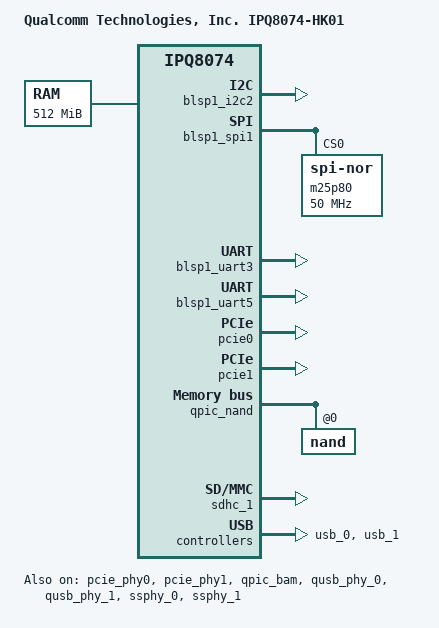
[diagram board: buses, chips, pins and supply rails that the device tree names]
// SPDX-License-Identifier: GPL-2.0-only
/dts-v1/;
/* Copyright (c) 2017, The Linux Foundation. All rights reserved.
 */
#include "ipq8074.dtsi"

/ {
	#address-cells = <0x2>;
	#size-cells = <0x2>;
	model = "Qualcomm Technologies, Inc. IPQ8074-HK01";
	compatible = "qcom,ipq8074-hk01", "qcom,ipq8074";
	interrupt-parent = <&intc>;

	aliases {
		serial0 = &blsp1_uart5;
		serial1 = &blsp1_uart3;
	};

	chosen {
		stdout-path = "serial0";
	};

	memory@40000000 {
		device_type = "memory";
		reg = <0x0 0x40000000 0x0 0x20000000>;
	};
};

&blsp1_i2c2 {
	status = "okay";
};

&blsp1_spi1 {
	status = "okay";

	m25p80@0 {
		#address-cells = <1>;
		#size-cells = <1>;
		compatible = "jedec,spi-nor";
		reg = <0>;
		spi-max-frequency = <50000000>;
	};
};

&blsp1_uart3 {
	status = "okay";
};

&blsp1_uart5 {
	status = "okay";
};

&pcie0 {
	status = "okay";
	perst-gpio = <&tlmm 61 0x1>;
};

&pcie1 {
	status = "okay";
	perst-gpio = <&tlmm 58 0x1>;
};

&pcie_phy0 {
	status = "okay";
};

&pcie_phy1 {
	status = "okay";
};

&qpic_bam {
	status = "okay";
};

&qpic_nand {
	status = "okay";

	nand@0 {
		reg = <0>;
		nand-ecc-strength = <4>;
		nand-ecc-step-size = <512>;
		nand-bus-width = <8>;
	};
};

&sdhc_1 {
	status = "okay";
};

&qusb_phy_0 {
	status = "okay";
};

&qusb_phy_1 {
	status = "okay";
};

&ssphy_0 {
	status = "okay";
};

&ssphy_1 {
	status = "okay";
};

&usb_0 {
	status = "okay";
};

&usb_1 {
	status = "okay";
};
